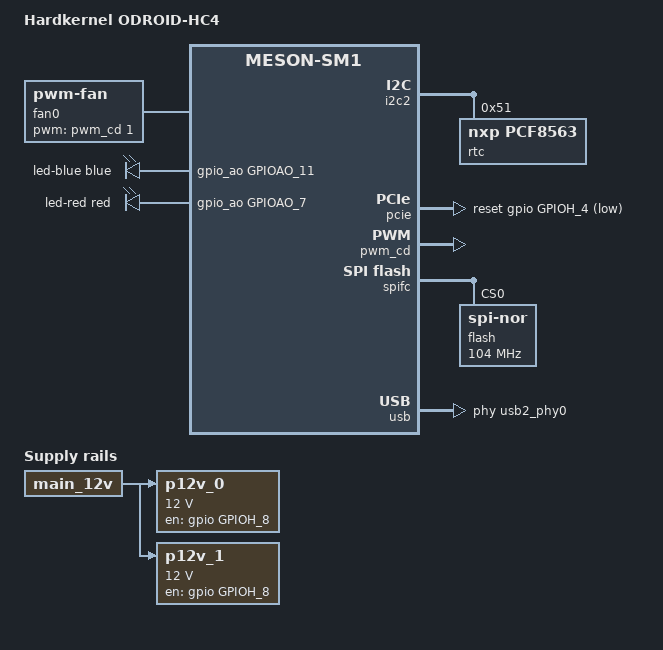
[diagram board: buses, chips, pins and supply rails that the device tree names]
// SPDX-License-Identifier: (GPL-2.0+ OR MIT)
/*
 * Copyright (c) 2020 Dongjin Kim <tobetter@gmail.com>
 */

/dts-v1/;

#include "meson-sm1-odroid.dtsi"

/ {
	compatible = "hardkernel,odroid-hc4", "amlogic,sm1";
	model = "Hardkernel ODROID-HC4";

	aliases {
		rtc0 = &rtc;
		rtc1 = &vrtc;
	};

	fan0: pwm-fan {
		compatible = "pwm-fan";
		#cooling-cells = <2>;
		cooling-levels = <0 120 170 220>;
		pwms = <&pwm_cd 1 40000 0>;
	};

	leds {
		compatible = "gpio-leds";

		led-blue {
			color = <LED_COLOR_ID_BLUE>;
			function = LED_FUNCTION_STATUS;
			gpios = <&gpio_ao GPIOAO_11 GPIO_ACTIVE_HIGH>;
			linux,default-trigger = "heartbeat";
			panic-indicator;
		};

		led-red {
			color = <LED_COLOR_ID_RED>;
			function = LED_FUNCTION_POWER;
			gpios = <&gpio_ao GPIOAO_7 GPIO_ACTIVE_HIGH>;
			default-state = "on";
		};
	};

	/* Powers the SATA Disk 0 regulator, which is enabled when a disk load is detected */
	p12v_0: regulator-p12v_0 {
		compatible = "regulator-fixed";
		regulator-name = "P12V_0";
		regulator-min-microvolt = <12000000>;
		regulator-max-microvolt = <12000000>;
		vin-supply = <&main_12v>;

		gpio = <&gpio GPIOH_8 GPIO_OPEN_DRAIN>;
		enable-active-high;
		regulator-always-on;
	};

	/* Powers the SATA Disk 1 regulator, which is enabled when a disk load is detected */
	p12v_1: regulator-p12v_1 {
		compatible = "regulator-fixed";
		regulator-name = "P12V_1";
		regulator-min-microvolt = <12000000>;
		regulator-max-microvolt = <12000000>;
		vin-supply = <&main_12v>;

		gpio = <&gpio GPIOH_8 GPIO_OPEN_DRAIN>;
		enable-active-high;
		regulator-always-on;
	};

	sound {
		model = "ODROID-HC4";
	};
};

&cpu_thermal {
	trips {
		cpu_active: cpu-active {
			temperature = <60000>; /* millicelsius */
			hysteresis = <2000>; /* millicelsius */
			type = "active";
		};
	};

	cooling-maps {
		map {
			trip = <&cpu_active>;
			cooling-device = <&fan0 THERMAL_NO_LIMIT THERMAL_NO_LIMIT>;
		};
	};
};

&ir {
	linux,rc-map-name = "rc-odroid";
};

&i2c2 {
	status = "okay";
	pinctrl-0 = <&i2c2_sda_x_pins>, <&i2c2_sck_x_pins>;
	pinctrl-names = "default";

	rtc: rtc@51 {
		status = "okay";
		compatible = "nxp,pcf8563";
		reg = <0x51>;
		wakeup-source;
	};
};

&pcie {
	status = "okay";
	reset-gpios = <&gpio GPIOH_4 GPIO_ACTIVE_LOW>;
};

&pwm_cd {
	status = "okay";
	pinctrl-names = "default";
	pinctrl-0 = <&pwm_d_x6_pins>;
};

&sd_emmc_c {
	status = "disabled";
};

&spifc {
	status = "okay";
	pinctrl-0 = <&nor_pins>;
	pinctrl-names = "default";

	flash@0 {
		#address-cells = <1>;
		#size-cells = <1>;
		compatible = "jedec,spi-nor";
		reg = <0>;
		spi-max-frequency = <104000000>;
	};
};

&usb {
	phys = <&usb2_phy0>, <&usb2_phy1>;
	phy-names = "usb2-phy0", "usb2-phy1";
};
